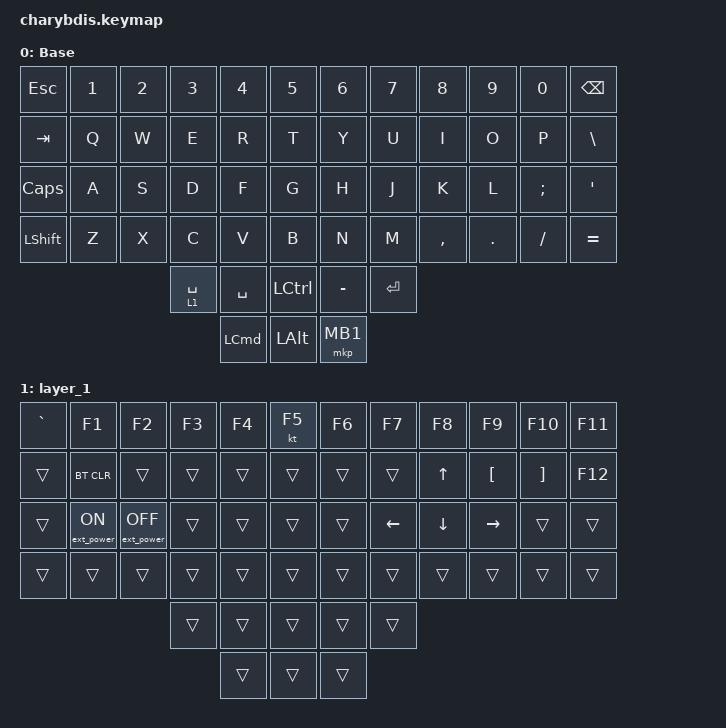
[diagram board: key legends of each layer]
#include <behaviors.dtsi>
#include <dt-bindings/zmk/bt.h>
#include <dt-bindings/zmk/ext_power.h>
#include <dt-bindings/zmk/keys.h>
#include <dt-bindings/zmk/mouse.h>

&lt {
    tapping-term-ms = <200>;
    flavor = "balanced";
    quick-tap-ms = <150>;
};

/ {
    combos {
        compatible = "zmk,combos";

        escc {
            bindings = <&kp ESC>;
            key-positions = <17 18>;
            layers = <0>;
        };
    };

    keymap {
        compatible = "zmk,keymap";

        Base {
            bindings = <
&kp ESC       &kp N1  &kp N2  &kp N3       &kp N4            &kp N5          &kp N6     &kp N7     &kp N8     &kp N9   &kp N0     &kp BSPC
&kp TAB       &kp Q   &kp W   &kp E        &kp R             &kp T           &kp Y      &kp U      &kp I      &kp O    &kp P      &kp BACKSLASH
&kp CAPSLOCK  &kp A   &kp S   &kp D        &kp F             &kp G           &kp H      &kp J      &kp K      &kp L    &kp SEMI   &kp APOS
&kp LSHIFT    &kp Z   &kp X   &kp C        &kp V             &kp B           &kp N      &kp M      &kp COMMA  &kp DOT  &kp SLASH  &kp EQUAL
                              &lt 1 SPACE  &kp SPACE         &kp LCTRL       &kp MINUS  &kp ENTER
                                           &kp LEFT_COMMAND  &kp LEFT_ALT    &mkp MB1
            >;

            trackball-bindings = <&tmv_coarse>;
        };

        layer_1 {
            bindings = <
&kp GRAVE  &kp F1            &kp F2             &kp F3  &kp F4  &kt F5    &kp F6  &kp F7          &kp F8          &kp F9            &kp F10            &kp F11
&trans     &bt BT_CLR        &trans             &trans  &trans  &trans    &trans  &trans          &kp UP_ARROW    &kp LEFT_BRACKET  &kp RIGHT_BRACKET  &kp F12
&trans     &ext_power EP_ON  &ext_power EP_OFF  &trans  &trans  &trans    &trans  &kp LEFT_ARROW  &kp DOWN_ARROW  &kp RIGHT         &trans             &trans
&trans     &trans            &trans             &trans  &trans  &trans    &trans  &trans          &trans          &trans            &trans             &trans
                                                &trans  &trans  &trans    &trans  &trans
                                                        &trans  &trans    &trans
            >;
        };
    };
};
